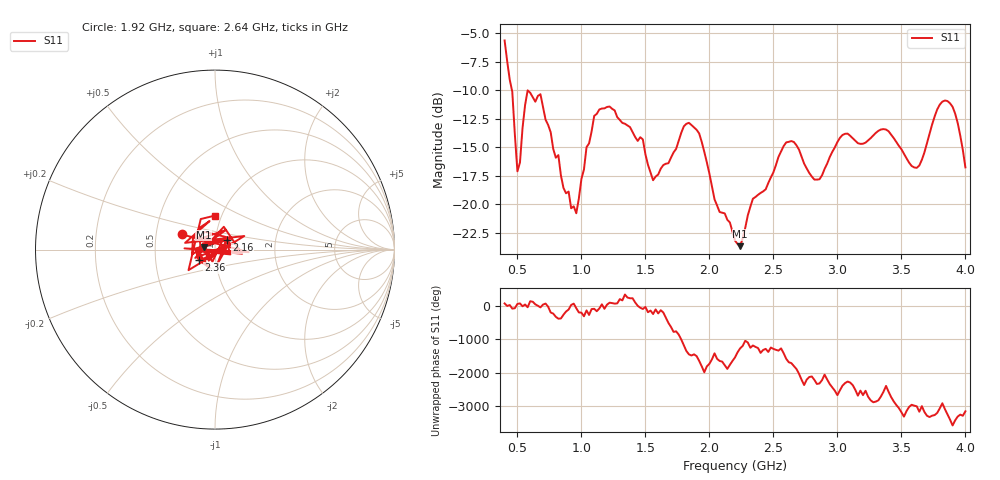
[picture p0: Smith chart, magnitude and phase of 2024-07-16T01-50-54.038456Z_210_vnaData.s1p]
!Created with skrf (http://scikit-rf.org).
# Hz S RI R 50.0
!freq ReS11 ImS11
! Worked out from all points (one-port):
!   181 points, 400 MHz to 4 GHz, reference 50 ohm
!   lowest |S11| = -23.7 dB at 2.24 GHz (marker M1), VSWR 1.14, Z = 44 + j1.28 ohm
!   |S11| at or under -10 dB: 457.4 MHz to end of sweep
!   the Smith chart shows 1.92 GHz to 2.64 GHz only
!   S11 on the Smith chart (normalised r, x): 1.92 GHz: 0.68, +0.12; 2.16 GHz: 1.13, +0.12; 2.36 GHz: 0.83, -0.09; 2.64 GHz: 0.93, +0.37
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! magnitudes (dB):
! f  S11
! 400 MHz  -5.6
! 460 MHz  -10.1
! 500 MHz  -17.1
! 580 MHz  -10.0
! 680 MHz  -10.4
! 860 MHz  -18.6
! 960 MHz  -20.8
! 1.1 GHz  -12.2
! 1.3 GHz  -12.6
! 1.48 GHz  -14.3
! 1.56 GHz  -17.9
! 1.76 GHz  -14.4
! 1.92 GHz  -13.8
! 2.04 GHz  -19.6
! 2.16 GHz  -21.6
! 2.2 GHz  -23.2
! 2.24 GHz  -23.7
! 2.36 GHz  -19.4
! 2.64 GHz  -14.5
! 2.66 GHz  -14.5
! 2.84 GHz  -17.8
! 3.1 GHz  -14.0
! 3.38 GHz  -13.4
! 3.56 GHz  -16.3
! 3.64 GHz  -16.6
! 3.84 GHz  -10.9
! 3.92 GHz  -12.0
! 4 GHz  -16.8
